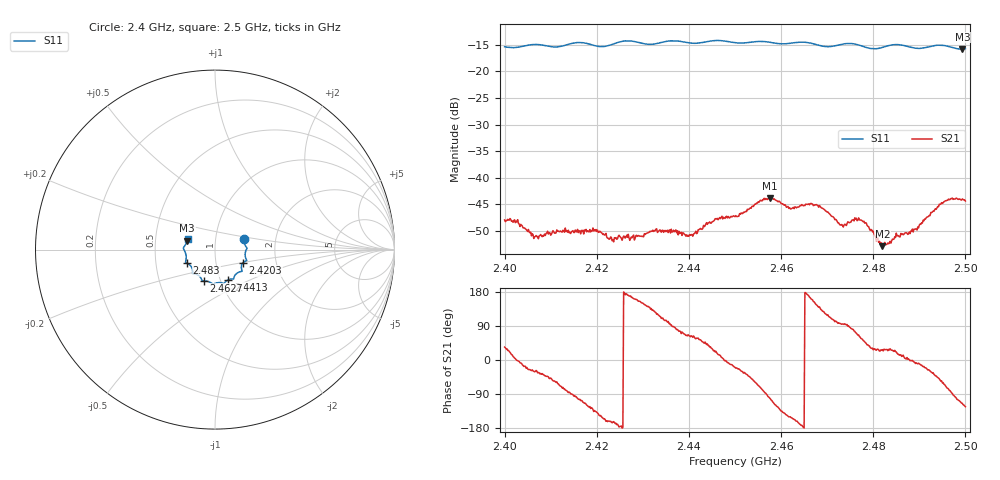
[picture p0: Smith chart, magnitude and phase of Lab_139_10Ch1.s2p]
# Hz S RI R 50
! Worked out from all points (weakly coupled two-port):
!   601 points, 2.4 GHz to 2.5 GHz, reference 50 ohm
!   highest |S21| = -43.82 dB at 2.4575 GHz (marker M1); lowest = -52.9 dB at 2.482 GHz (marker M2)
!   lowest |S11| = -15.8 dB at 2.4993 GHz (marker M3), VSWR 1.39, Z = 36.5 + j3.72 ohm
!   |S11| at or under -10 dB: start of sweep to end of sweep
!   S12 and S22 are empty: the file has one direction only
!   S11 on the Smith chart (normalised r, x): 2.4 GHz: 1.37, +0.16; 2.4203 GHz: 1.35, -0.21; 2.4413 GHz: 1.09, -0.38; 2.4627 GHz: 0.83, -0.30; 2.483 GHz: 0.72, -0.11; 2.5 GHz: 0.73, +0.09
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2.4e9  0.1604 0.057  0.00331 0.00225  0 0  0 0
2.4025e9  0.165 0.0302  0.00389 4.28e-05  0 0  0 0
2.406833e9  0.1787 0.00809  0.00253 -0.00133  0 0  0 0
2.416667e9  0.176 -0.0617  -0.000914 -0.00307  0 0  0 0
2.420333e9  0.155 -0.074  -0.00242 -0.00188  0 0  0 0
2.423833e9  0.1478 -0.1066  -0.00263 -0.000714  0 0  0 0
2.433333e9  0.108 -0.1486  -0.0015 0.00272  0 0  0 0
2.441333e9  0.0741 -0.1679  0.00164 0.00255  0 0  0 0
2.446167e9  0.0496 -0.1888  0.00396 0.00122  0 0  0 0
2.45e9  0.0292 -0.1838  0.00406 -0.00144  0 0  0 0
2.4575e9  -0.0195 -0.1867  -0.00113 -0.00635  0 0  0 0
2.462667e9  -0.062 -0.1749  -0.00478 -0.00219  0 0  0 0
2.466667e9  -0.0743 -0.1675  -0.00534 0.00195  0 0  0 0
2.473167e9  -0.1193 -0.1346  -0.000269 0.00362  0 0  0 0
2.477333e9  -0.1242 -0.122  0.00218 0.00335  0 0  0 0
2.482e9  -0.1473 -0.0809  0.00202 0.00104  0 0  0 0
2.483e9  -0.1551 -0.0766  0.0021 0.00111  0 0  0 0
2.483333e9  -0.1573 -0.0757  0.00211 0.00113  0 0  0 0
2.489167e9  -0.1604 -0.0388  0.00326 -0.000531  0 0  0 0
2.495333e9  -0.1747 0.0124  0.00262 -0.00533  0 0  0 0
2.499333e9  -0.1543 0.0496  -0.0026 -0.00576  0 0  0 0
2.5e9  -0.1525 0.0587  -0.0033 -0.00505  0 0  0 0
